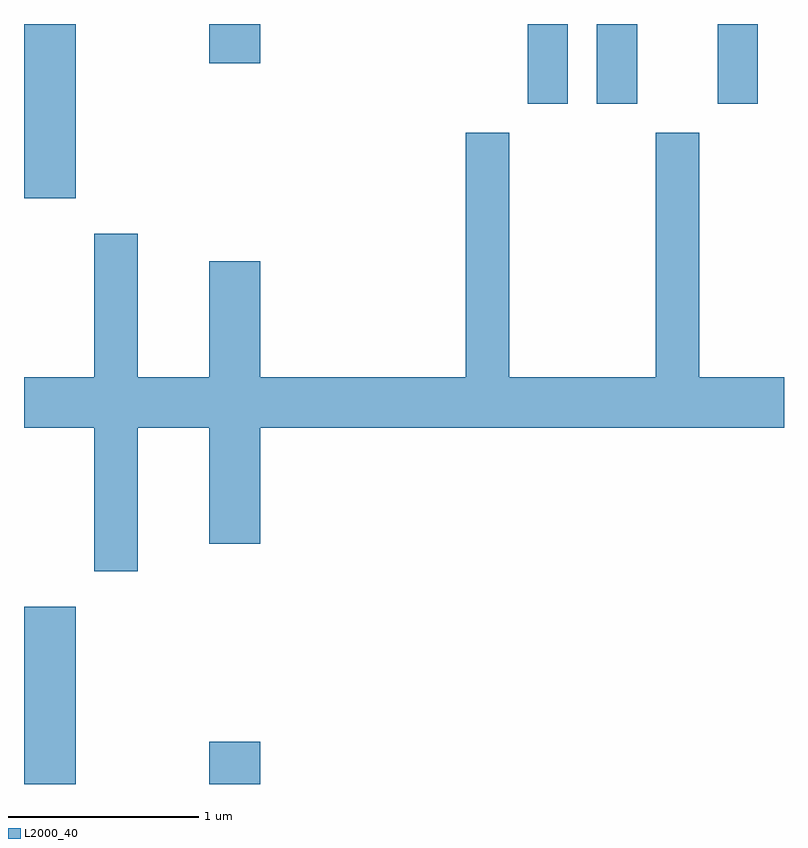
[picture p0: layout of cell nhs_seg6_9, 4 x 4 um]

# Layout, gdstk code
import gdstk
lib = gdstk.Library(unit=1e-6, precision=1e-09)
def R(c, l, rs):  # rectangles x0, y0, x1, y1
    for r in rs: c.add(gdstk.rectangle(r[:2], r[2:], *l))
def P(c, l, *ps):  # polygons
    for p in ps: c.add(gdstk.Polygon(p, *l))
L2000_40 = (2000, 40)

nhs_seg6_9 = lib.new_cell('nhs_seg6_9')
R(nhs_seg6_9, L2000_40, [(185.611,1548.162,185.884,1549.094), (186.586,1548.162,186.854,1548.384), (185.611,1551.246,185.884,1552.162), (188.261,1551.741,188.474,1552.162), (188.626,1551.741,188.839,1552.162), (189.261,1551.741,189.474,1552.162), (186.586,1551.956,186.854,1552.162)])
P(nhs_seg6_9, L2000_40, [(186.209,1550.036),(186.586,1550.036),(186.586,1549.426),(186.854,1549.426),(186.854,1550.036),(189.611,1550.036),(189.611,1550.304),(189.164,1550.304),(189.164,1551.589),(188.936,1551.589),(188.936,1550.304),(188.164,1550.304),(188.164,1551.589),(187.936,1551.589),(187.936,1550.304),(186.854,1550.304),(186.854,1550.914),(186.586,1550.914),(186.586,1550.304),(186.209,1550.304),(186.209,1551.059),(185.981,1551.059),(185.981,1550.304),(185.611,1550.304),(185.611,1550.036),(185.981,1550.036),(185.981,1549.281),(186.209,1549.281)])

lib.write_gds('nhs_seg6_9.gds')
